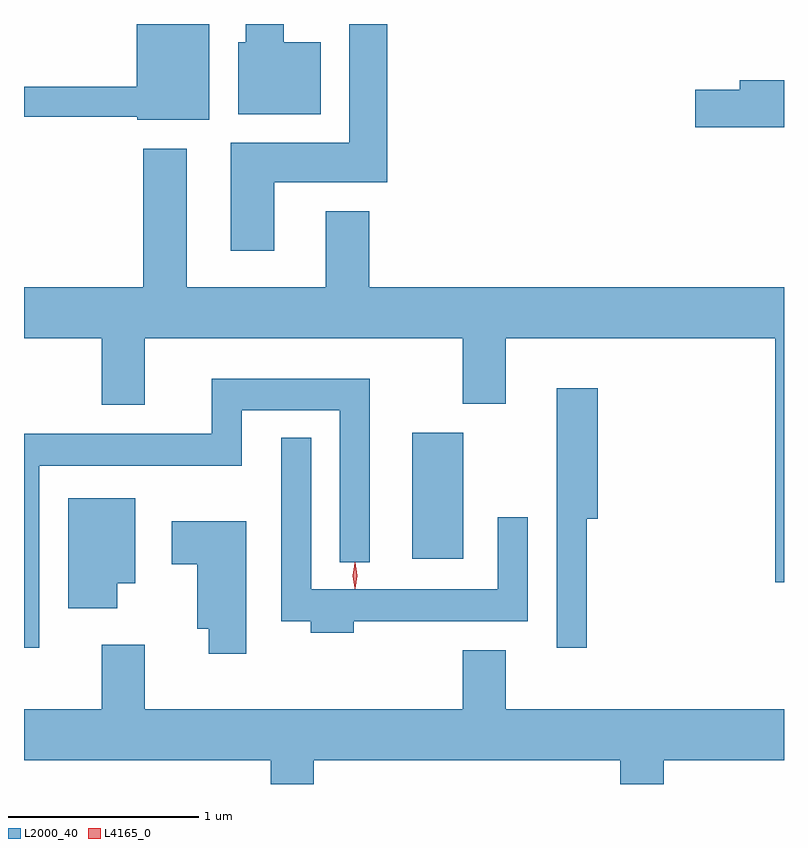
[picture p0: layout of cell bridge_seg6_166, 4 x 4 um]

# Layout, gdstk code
import gdstk
lib = gdstk.Library(unit=1e-6, precision=1e-09)
def R(c, l, rs):  # rectangles x0, y0, x1, y1
    for r in rs: c.add(gdstk.rectangle(r[:2], r[2:], *l))
def P(c, l, *ps):  # polygons
    for p in ps: c.add(gdstk.Polygon(p, *l))
L2000_40 = (2000, 40)
L4165_0 = (4165, 0)

bridge_seg6_166 = lib.new_cell('bridge_seg6_166')
R(bridge_seg6_166, L2000_40, [(1109.546,1575.516,1109.814,1576.179)])
P(bridge_seg6_166, L2000_40, [(1109.064,1578.234),(1108.869,1578.234),(1108.869,1578.33),(1108.671,1578.33),(1108.671,1578.234),(1108.631,1578.234),(1108.631,1577.856),(1109.064,1577.856)],
  [(1108.819,1577.496),(1109.414,1577.496),(1109.414,1578.33),(1109.216,1578.33),(1109.216,1577.704),(1108.591,1577.704),(1108.591,1577.136),(1108.819,1577.136)],
  [(1108.479,1578.329),(1108.096,1578.329),(1108.096,1577.999),(1107.503,1577.999),(1107.503,1577.841),(1108.1,1577.841),(1108.1,1577.826),(1108.479,1577.826)],
  [(1111.503,1578.034),(1111.271,1578.034),(1111.271,1577.984),(1111.036,1577.984),(1111.036,1577.786),(1111.503,1577.786)],
  [(1111.503,1576.944),(1109.319,1576.944),(1109.319,1577.344),(1109.091,1577.344),(1109.091,1576.944),(1108.359,1576.944),(1108.359,1577.674),(1108.131,1577.674),(1108.131,1576.944),(1107.503,1576.944),(1107.503,1576.676),(1107.911,1576.676),(1107.911,1576.326),(1108.139,1576.326),(1108.139,1576.676),(1109.811,1576.676),(1109.811,1576.331),(1110.039,1576.331),(1110.039,1576.676),(1111.456,1576.676),(1111.456,1575.391),(1111.503,1575.391)],
  [(1107.584,1576.006),(1108.649,1576.006),(1108.649,1576.296),(1109.166,1576.296),(1109.166,1575.498),(1109.324,1575.498),(1109.324,1576.464),(1108.491,1576.464),(1108.491,1576.174),(1107.503,1576.174),(1107.503,1575.048),(1107.584,1575.048)],
  [(1110.464,1575.726),(1110.524,1575.726),(1110.524,1576.414),(1110.306,1576.414),(1110.306,1575.048),(1110.464,1575.048)],
  [(1109.239,1575.186),(1110.154,1575.186),(1110.154,1575.733),(1109.996,1575.733),(1109.996,1575.354),(1109.014,1575.354),(1109.014,1576.153),(1108.856,1576.153),(1108.856,1575.186),(1109.011,1575.186),(1109.011,1575.126),(1109.239,1575.126)],
  [(1107.994,1575.386),(1108.089,1575.386),(1108.089,1575.834),(1107.736,1575.834),(1107.736,1575.256),(1107.994,1575.256)],
  [(1108.674,1575.714),(1108.281,1575.714),(1108.281,1575.486),(1108.416,1575.486),(1108.416,1575.146),(1108.476,1575.146),(1108.476,1575.016),(1108.674,1575.016)],
  [(1109.029,1574.456),(1110.641,1574.456),(1110.641,1574.33),(1110.869,1574.33),(1110.869,1574.456),(1111.503,1574.456),(1111.503,1574.724),(1110.039,1574.724),(1110.039,1575.034),(1109.811,1575.034),(1109.811,1574.724),(1108.139,1574.724),(1108.139,1575.064),(1107.911,1575.064),(1107.911,1574.724),(1107.503,1574.724),(1107.503,1574.456),(1108.801,1574.456),(1108.801,1574.33),(1109.029,1574.33)])
P(bridge_seg6_166, L4165_0, [(1109.246,1575.357),(1109.245,1575.358),(1109.236,1575.427),(1109.245,1575.496),(1109.246,1575.496),(1109.246,1575.496),(1109.256,1575.427),(1109.246,1575.358)],
  [(1109.244,1575.359),(1109.244,1575.36),(1109.234,1575.426),(1109.244,1575.492),(1109.244,1575.493),(1109.245,1575.492),(1109.254,1575.426),(1109.245,1575.36)])

lib.write_gds('bridge_seg6_166.gds')
